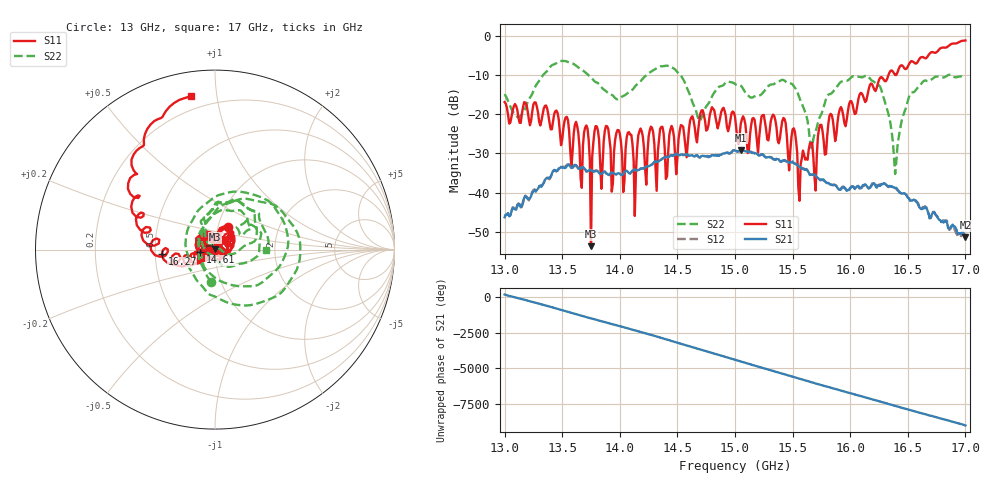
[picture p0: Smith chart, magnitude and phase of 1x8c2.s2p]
!Keysight Technologies,P9374A,MY57211807,A.19.30.04
!Date: Friday, May 08, 2026 15:06:22
!Correction: S11(C  2-Port  )
!S21(C  2-Port  )
!S12(C  2-Port  )
!S22(C  2-Port  )
!S2P File: Measurements: S11, S21, S12, S22:
# Hz S  dB  R 50
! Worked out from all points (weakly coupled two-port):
!   401 points, 13 GHz to 17 GHz, reference 50 ohm
!   highest |S21| = -29.13 dB at 15.05 GHz (marker M1); lowest = -51.3 dB at 17 GHz (marker M2)
!   lowest |S11| = -53.6 dB at 13.75 GHz (marker M3), VSWR 1.00, Z = 49.9 + j0.202 ohm
!   |S11| at or under -10 dB: start of sweep to 16.33 GHz; 16.38942 GHz to 16.4005 GHz (11.09 MHz wide, 0.0676 % of centre)
!   |S22| runs from -35.2 to -6.4 dB; largest |S21 - S12| = 0.0013
!   S11 on the Smith chart (normalised r, x): 13 GHz: 1.12, +0.28; 14.61 GHz: 0.85, -0.02; 16.27 GHz: 0.54, -0.03; 17 GHz: 0.12, +0.85
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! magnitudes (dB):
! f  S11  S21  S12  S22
! 13 GHz  -16.9  -46.3  -46.1  -14.9
! 13.67 GHz  -38.8  -33.5  -33.8  -8.7
! 13.71 GHz  -22.9  -34.6  -34.6  -9.6
! 13.75 GHz  -53.6  -34.3  -34.1  -10.6
! 13.8 GHz  -23.1  -34.5  -34.3  -11.9
! 13.84 GHz  -39.0  -35.2  -35.1  -13.1
! 13.89 GHz  -23.1  -35.2  -35.4  -14.4
! 13.93 GHz  -39.7  -34.8  -34.9  -15.1
! 13.98 GHz  -24.0  -35.1  -34.9  -16.2
! 14.34 GHz  -26.6  -32.0  -32.1  -7.9
! 14.61 GHz  -21.7  -30.6  -30.5  -15.2
! 15 GHz  -20.6  -29.3  -29.3  -12.3
! 15.05 GHz  -22.4  -29.1  -29.1  -12.8
! 15.5 GHz  -23.9  -32.1  -32.2  -12.5
! 15.56 GHz  -42.1  -33.5  -33.3  -16.0
! 15.67 GHz  -27.3  -35.4  -35.4  -28.2
! 15.92 GHz  -18.2  -39.2  -38.9  -11.8
! 16.27 GHz  -10.5  -37.9  -37.8  -13.8
! 16.34 GHz  -9.5  -38.3  -38.5  -20.9
! 16.39 GHz  -10.0  -38.8  -38.9  -35.2
! 16.53 GHz  -6.5  -42.0  -41.8  -14.5
! 17 GHz  -1.2  -51.3  -51.5  -10.9
